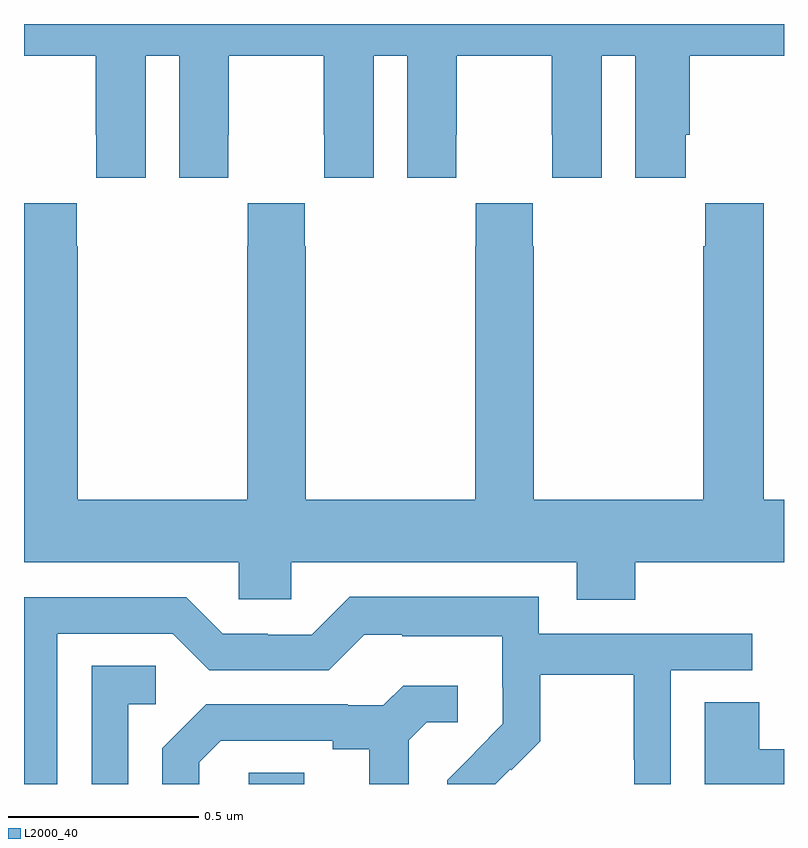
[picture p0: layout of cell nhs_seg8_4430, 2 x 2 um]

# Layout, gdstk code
import gdstk
lib = gdstk.Library(unit=1e-6, precision=1e-09)
def R(c, l, rs):  # rectangles x0, y0, x1, y1
    for r in rs: c.add(gdstk.rectangle(r[:2], r[2:], *l))
def P(c, l, *ps):  # polygons
    for p in ps: c.add(gdstk.Polygon(p, *l))
L2000_40 = (2000, 40)

nhs_seg8_4430 = lib.new_cell('nhs_seg8_4430')
R(nhs_seg8_4430, L2000_40, [(170.592,1131.9,170.737,1131.929)])
P(nhs_seg8_4430, L2000_40, [(170,1133.816),(170.189,1133.816),(170.189,1133.608),(170.19,1133.608),(170.19,1133.496),(170.32,1133.496),(170.32,1133.816),(170.408,1133.816),(170.408,1133.496),(170.538,1133.496),(170.538,1133.608),(170.539,1133.608),(170.539,1133.816),(170.789,1133.816),(170.789,1133.608),(170.79,1133.608),(170.79,1133.496),(170.92,1133.496),(170.92,1133.816),(171.008,1133.816),(171.008,1133.496),(171.138,1133.496),(171.138,1133.608),(171.139,1133.608),(171.139,1133.816),(171.389,1133.816),(171.389,1133.608),(171.39,1133.608),(171.39,1133.496),(171.52,1133.496),(171.52,1133.816),(171.608,1133.816),(171.608,1133.496),(171.742,1133.496),(171.742,1133.608),(171.752,1133.608),(171.752,1133.816),(172,1133.816),(172,1133.9),(170,1133.9)],
  [(171.608,1132.484),(172,1132.484),(172,1132.648),(171.947,1132.648),(171.947,1133.428),(171.793,1133.428),(171.793,1133.315),(171.787,1133.315),(171.787,1132.648),(171.342,1132.648),(171.342,1133.315),(171.339,1133.315),(171.339,1133.428),(171.189,1133.428),(171.189,1133.315),(171.187,1133.315),(171.187,1132.648),(170.742,1132.648),(170.742,1133.315),(170.739,1133.315),(170.739,1133.428),(170.589,1133.428),(170.589,1133.315),(170.587,1133.315),(170.587,1132.648),(170.142,1132.648),(170.142,1133.315),(170.139,1133.315),(170.139,1133.428),(170,1133.428),(170,1132.484),(170.565,1132.484),(170.565,1132.386),(170.703,1132.386),(170.703,1132.484),(171.455,1132.484),(171.455,1132.385),(171.608,1132.385)],
  [(170.088,1132.296),(170.391,1132.296),(170.487,1132.2),(170.802,1132.2),(170.895,1132.293),(170.995,1132.293),(170.995,1132.289),(171.258,1132.289),(171.258,1132.155),(171.26,1132.155),(171.26,1132.058),(171.186,1131.984),(171.187,1131.983),(171.114,1131.91),(171.114,1131.9),(171.24,1131.9),(171.279,1131.939),(171.282,1131.936),(171.359,1132.013),(171.359,1132.188),(171.604,1132.188),(171.604,1131.964),(171.606,1131.964),(171.606,1131.9),(171.702,1131.9),(171.702,1132.2),(171.916,1132.2),(171.916,1132.296),(171.354,1132.296),(171.354,1132.393),(170.857,1132.393),(170.757,1132.293),(170.642,1132.293),(170.642,1132.296),(170.523,1132.296),(170.427,1132.392),(170,1132.392),(170,1131.9),(170.088,1131.9)],
  [(170.274,1132.11),(170.347,1132.11),(170.347,1132.211),(170.178,1132.211),(170.178,1131.9),(170.274,1131.9)],
  [(170.461,1131.957),(170.518,1132.014),(170.813,1132.014),(170.813,1131.992),(170.909,1131.992),(170.909,1131.9),(171.013,1131.9),(171.013,1132.015),(171.06,1132.062),(171.142,1132.062),(171.142,1132.159),(170.998,1132.159),(170.946,1132.107),(170.852,1132.107),(170.852,1132.11),(170.48,1132.11),(170.364,1131.994),(170.364,1131.9),(170.461,1131.9)],
  [(172,1131.992),(171.935,1131.992),(171.935,1132.115),(171.791,1132.115),(171.791,1131.9),(172,1131.9)])

lib.write_gds('nhs_seg8_4430.gds')
